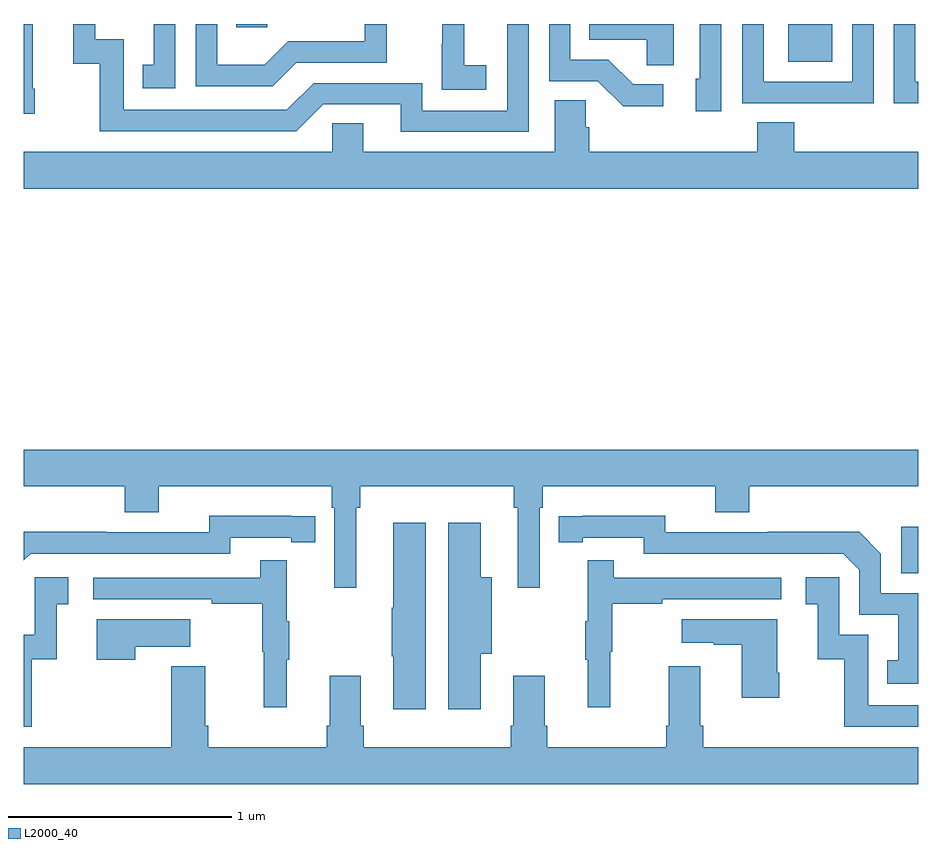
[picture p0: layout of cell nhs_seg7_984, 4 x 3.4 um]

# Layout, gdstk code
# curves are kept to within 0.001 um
import gdstk
lib = gdstk.Library(unit=1e-6, precision=1e-09)
def R(c, l, rs):  # rectangles x0, y0, x1, y1
    for r in rs: c.add(gdstk.rectangle(r[:2], r[2:], *l))
def P(c, l, *ps):  # polygons
    for p in ps: c.add(gdstk.Polygon(p, *l))
L2000_40 = (2000, 40)

nhs_seg7_984 = lib.new_cell('nhs_seg7_984')
R(nhs_seg7_984, L2000_40, [(186.924,1017.543,187,1017.751), (186.419,1019.831,186.616,1020), (183.949,1019.985,184.089,1020)])
P(nhs_seg7_984, L2000_40, [(185.259,1020),(185.163,1020),(185.163,1019.613),(184.782,1019.613),(184.782,1019.736),(184.296,1019.736),(184.176,1019.616),(183.447,1019.616),(183.447,1019.931),(183.318,1019.931),(183.318,1020),(183.221,1020),(183.221,1019.823),(183.339,1019.823),(183.339,1019.52),(184.218,1019.52),(184.338,1019.64),(184.685,1019.64),(184.685,1019.517),(185.259,1019.517)],
  [(183.678,1020),(183.581,1020),(183.581,1019.817),(183.532,1019.817),(183.532,1019.712),(183.678,1019.712)],
  [(185.86,1019.73),(185.725,1019.73),(185.614,1019.841),(185.445,1019.841),(185.445,1020),(185.349,1020),(185.349,1019.745),(185.568,1019.745),(185.681,1019.633),(185.86,1019.633)],
  [(186.801,1020),(186.705,1020),(186.705,1019.742),(186.309,1019.742),(186.309,1020),(186.213,1020),(186.213,1019.646),(186.529,1019.646),(186.529,1019.645),(186.801,1019.645)],
  [(185.908,1020),(185.53,1020),(185.53,1019.93),(185.787,1019.93),(185.787,1019.815),(185.908,1019.815)],
  [(185.068,1019.815),(184.97,1019.815),(184.97,1020),(184.871,1020),(184.871,1019.911),(184.87,1019.911),(184.87,1019.705),(185.068,1019.705)],
  [(187,1019.742),(186.987,1019.742),(186.987,1020),(186.891,1020),(186.891,1019.645),(187,1019.645)],
  [(184.219,1019.826),(184.623,1019.826),(184.623,1020),(184.524,1020),(184.524,1019.922),(184.182,1019.922),(184.078,1019.818),(183.864,1019.818),(183.864,1020),(183.768,1020),(183.768,1019.721),(184.114,1019.721)],
  [(183.048,1019.71),(183.04,1019.71),(183.04,1020),(183,1020),(183,1019.598),(183.048,1019.598)],
  [(186.12,1020),(186.024,1020),(186.024,1019.754),(186.005,1019.754),(186.005,1019.61),(186.12,1019.61)],
  [(187,1019.428),(186.446,1019.428),(186.446,1019.561),(186.281,1019.561),(186.281,1019.428),(185.528,1019.428),(185.528,1019.537),(185.514,1019.537),(185.514,1019.66),(185.375,1019.66),(185.375,1019.428),(184.519,1019.428),(184.519,1019.555),(184.38,1019.555),(184.38,1019.428),(183,1019.428),(183,1019.264),(187,1019.264)],
  [(183,1017.932),(183.452,1017.932),(183.452,1017.815),(183.604,1017.815),(183.604,1017.932),(184.376,1017.932),(184.376,1017.836),(184.389,1017.836),(184.389,1017.477),(184.486,1017.477),(184.486,1017.836),(184.505,1017.836),(184.505,1017.932),(185.191,1017.932),(185.191,1017.836),(185.21,1017.836),(185.21,1017.477),(185.307,1017.477),(185.307,1017.836),(185.321,1017.836),(185.321,1017.932),(186.092,1017.932),(186.092,1017.815),(186.245,1017.815),(186.245,1017.932),(187,1017.932),(187,1018.096),(183,1018.096)],
  [(183.03,1017.63),(183.924,1017.63),(183.924,1017.702),(184.196,1017.702),(184.196,1017.682),(184.304,1017.682),(184.304,1017.798),(183.828,1017.799),(183.828,1017.726),(183.368,1017.726),(183.368,1017.728),(183,1017.728),(183,1017.6)],
  [(187,1017.453),(186.834,1017.453),(186.834,1017.63),(186.736,1017.728),(186.328,1017.728),(186.328,1017.726),(185.868,1017.726),(185.868,1017.799),(185.392,1017.798),(185.392,1017.682),(185.5,1017.682),(185.5,1017.702),(185.772,1017.702),(185.772,1017.63),(186.666,1017.63),(186.738,1017.558),(186.738,1017.357),(186.911,1017.357),(186.911,1017.153),(186.862,1017.153),(186.862,1017.048),(187,1017.048)],
  [(184.798,1017.769),(184.652,1017.769),(184.652,1017.389),(184.645,1017.389),(184.645,1017.172),(184.652,1017.172),(184.652,1016.934),(184.798,1016.934)],
  [(185.044,1017.182),(185.092,1017.182),(185.092,1017.526),(185.044,1017.526),(185.044,1017.769),(184.898,1017.769),(184.898,1016.934),(185.044,1016.934)],
  [(184.175,1017.155),(184.186,1017.155),(184.186,1017.329),(184.175,1017.329),(184.175,1017.601),(184.057,1017.601),(184.057,1017.522),(183.309,1017.522),(183.309,1017.426),(183.841,1017.426),(183.841,1017.406),(184.065,1017.406),(184.065,1017.192),(184.072,1017.192),(184.072,1016.943),(184.175,1016.943)],
  [(185.624,1017.192),(185.632,1017.192),(185.632,1017.406),(185.855,1017.406),(185.855,1017.426),(186.388,1017.426),(186.388,1017.522),(185.639,1017.522),(185.639,1017.601),(185.522,1017.601),(185.522,1017.329),(185.511,1017.329),(185.511,1017.155),(185.522,1017.155),(185.522,1016.943),(185.624,1016.943)],
  [(183.035,1017.159),(183.146,1017.159),(183.146,1017.405),(183.199,1017.405),(183.199,1017.526),(183.048,1017.526),(183.048,1017.267),(183,1017.267),(183,1016.856),(183.035,1016.856)],
  [(187,1016.952),(186.777,1016.952),(186.777,1017.267),(186.648,1017.267),(186.648,1017.526),(186.498,1017.526),(186.498,1017.405),(186.551,1017.405),(186.551,1017.159),(186.669,1017.159),(186.669,1016.856),(187,1016.856)],
  [(186.378,1017.097),(186.37,1017.097),(186.37,1017.337),(185.943,1017.337),(185.943,1017.233),(186.086,1017.233),(186.086,1017.223),(186.212,1017.223),(186.212,1016.985),(186.378,1016.985)],
  [(183.497,1017.215),(183.745,1017.215),(183.745,1017.337),(183.326,1017.337),(183.326,1017.156),(183.497,1017.156)],
  [(187,1016.764),(186.038,1016.764),(186.038,1016.86),(186.025,1016.86),(186.025,1017.127),(185.885,1017.127),(185.885,1016.86),(185.873,1016.86),(185.873,1016.764),(185.342,1016.764),(185.342,1016.86),(185.329,1016.86),(185.329,1017.085),(185.189,1017.085),(185.189,1016.86),(185.177,1016.86),(185.177,1016.764),(184.52,1016.764),(184.52,1016.86),(184.507,1016.86),(184.507,1017.085),(184.367,1017.085),(184.367,1016.86),(184.355,1016.86),(184.355,1016.764),(183.824,1016.764),(183.824,1016.86),(183.811,1016.86),(183.811,1017.127),(183.659,1017.127),(183.659,1016.764),(183,1016.764),(183,1016.6),(187,1016.6)])

lib.write_gds('nhs_seg7_984.gds')
